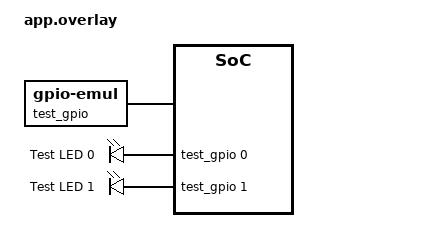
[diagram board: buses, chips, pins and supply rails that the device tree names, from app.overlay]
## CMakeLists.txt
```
# SPDX-License-Identifier: Apache-2.0

cmake_minimum_required(VERSION 3.28.0)

find_package(Zephyr REQUIRED HINTS $ENV{ZEPHYR_BASE})
project(unit)

set(APP_SRC ${CMAKE_CURRENT_SOURCE_DIR}/../../src)

target_sources(app PRIVATE
  src/test_led_ctrl.c
  ${APP_SRC}/led_ctrl.c
)
target_include_directories(app PRIVATE ${APP_SRC})
```

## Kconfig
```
# SPDX-License-Identifier: Apache-2.0

# Reusa as opções do app (APP_LED_*), que já incluem Kconfig.zephyr.
rsource "../../Kconfig"
```

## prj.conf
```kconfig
CONFIG_ZTEST=y
CONFIG_GPIO=y
CONFIG_LOG=y

# Tick de 1 ms para amostrar os pinos com resolução fina.
CONFIG_SYS_CLOCK_TICKS_PER_SEC=1000

# Períodos curtos para os testes rodarem rápido.
CONFIG_APP_LED_PERIOD_SLOW_MS=400
CONFIG_APP_LED_PERIOD_NORMAL_MS=200
CONFIG_APP_LED_PERIOD_FAST_MS=100
```

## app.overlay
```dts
/*
 * Controlador GPIO emulado só dos testes. Com zephyr,deferred-init ele
 * não é inicializado no boot: o primeiro teste vê led_ctrl_init()
 * falhar e depois o inicializa com device_init().
 */
/ {
	aliases {
		led0 = &test_led0;
		led1 = &test_led1;
	};

	test_gpio: gpio_emul_leds {
		compatible = "zephyr,gpio-emul";
		gpio-controller;
		#gpio-cells = <2>;
		ngpios = <8>;
		zephyr,deferred-init;
		status = "okay";
	};

	test_leds {
		compatible = "gpio-leds";

		test_led0: test_led_0 {
			gpios = <&test_gpio 0 GPIO_ACTIVE_HIGH>;
			label = "Test LED 0";
		};

		test_led1: test_led_1 {
			gpios = <&test_gpio 1 GPIO_ACTIVE_HIGH>;
			label = "Test LED 1";
		};
	};
};
```

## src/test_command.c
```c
/*******************************************************************
 * @file test_command.c
 *
 * @brief Testes do parser/dispatcher com um hardware fake.
 *******************************************************************/

#include <string.h>
#include <zephyr/ztest.h>

#include "command.h"

static bool fake_led;
static int fake_led_set_calls;
static int fake_button;

static int fake_led_set(bool on)
{
	fake_led = on;
	fake_led_set_calls++;
	return 0;
}

static bool fake_led_get(void)
{
	return fake_led;
}

static int fake_button_get(void)
{
	return fake_button;
}

static int64_t fake_uptime_ms(void)
{
	return 1234;
}

static const struct command_hal fake_hal = {
	.led_set = fake_led_set,
	.led_get = fake_led_get,
	.button_get = fake_button_get,
	.uptime_ms = fake_uptime_ms,
};

static char out[256];

static uint16_t run(const char *line)
{
	return dispatch(&fake_hal, line, out, sizeof(out));
}

static void reset_fakes(void *fixture)
{
	ARG_UNUSED(fixture);
	fake_led = false;
	fake_led_set_calls = 0;
	fake_button = 0;
	memset(out, 0, sizeof(out));
}

ZTEST_SUITE(command, NULL, NULL, reset_fakes, NULL, NULL);

ZTEST(command, test_parse_command)
{
	zassert_equal(parse_command("ON"), 1);
	zassert_equal(parse_command("OFF"), 0);
	zassert_equal(parse_command("on"), 1);
	zassert_equal(parse_command("oFf"), 0);
	zassert_equal(parse_command("FOO"), -1);
	zassert_equal(parse_command(""), -1);
	zassert_equal(parse_command(NULL), -1);
}

ZTEST(command, test_help_lists_one_line_per_command)
{
	const char *names[] = {"HELP", "LED", "BTN", "UPTIME", "ECHO"};
	const char *p = out;
	int lines = 0;

	zassert_equal(run("HELP"), 0);
	for (size_t i = 0; i < ARRAY_SIZE(names); i++) {
		zassert_not_null(strstr(out, names[i]), "faltou %s", names[i]);
	}
	while ((p = strstr(p, "\r\n")) != NULL) {
		lines++;
		p += 2;
	}
	zassert_equal(lines, ARRAY_SIZE(names));
	zassert_equal(strcmp(out + strlen(out) - 2, "\r\n"), 0);
}

ZTEST(command, test_led_on_off)
{
	zassert_equal(run("LED ON"), 0);
	zassert_str_equal(out, "OK\r\n");
	zassert_true(fake_led);

	zassert_equal(run("LED OFF"), 0);
	zassert_str_equal(out, "OK\r\n");
	zassert_false(fake_led);
	zassert_equal(fake_led_set_calls, 2);
}

ZTEST(command, test_case_insensitive)
{
	zassert_equal(run("led on"), 0);
	zassert_str_equal(out, "OK\r\n");
	zassert_true(fake_led);

	zassert_equal(run("Led"), 0);
	zassert_str_equal(out, "LED: ON\r\n");
}

ZTEST(command, test_led_state)
{
	zassert_equal(run("LED"), 0);
	zassert_str_equal(out, "LED: OFF\r\n");

	fake_led = true;
	zassert_equal(run("LED"), 0);
	zassert_str_equal(out, "LED: ON\r\n");
}

ZTEST(command, test_led_invalid_arg)
{
	zassert_equal(run("LED FOO"), ENOCMD);
	zassert_str_equal(out, "ERR: unknown command\r\n");
	zassert_equal(fake_led_set_calls, 0);
}

ZTEST(command, test_btn)
{
	zassert_equal(run("BTN"), 0);
	zassert_str_equal(out, "BTN: 0\r\n");

	fake_button = 1;
	zassert_equal(run("btn"), 0);
	zassert_str_equal(out, "BTN: 1\r\n");
}

ZTEST(command, test_uptime)
{
	zassert_equal(run("UPTIME"), 0);
	zassert_str_equal(out, "UPTIME: 1234 ms\r\n");
}

ZTEST(command, test_echo_preserves_text)
{
	zassert_equal(run("ECHO Hello  World!"), 0);
	zassert_str_equal(out, "Hello  World!\r\n");

	zassert_equal(run("echo MiXeD"), 0);
	zassert_str_equal(out, "MiXeD\r\n");
}

ZTEST(command, test_unknown_command)
{
	zassert_equal(run("FOO"), ENOCMD);
	zassert_str_equal(out, "ERR: unknown command\r\n");

	/* Prefixo de um comando válido não é o comando. */
	zassert_equal(run("LE"), ENOCMD);
	zassert_equal(run("LEDX"), ENOCMD);
	zassert_equal(run("UPTIME 5"), ENOCMD);
}

ZTEST(command, test_empty_line_has_no_response)
{
	zassert_equal(run(""), 0);
	zassert_str_equal(out, "");
	zassert_equal(run("   "), 0);
	zassert_str_equal(out, "");
}

ZTEST(command, test_small_output_buffer_is_truncated)
{
	char small[8];

	dispatch(&fake_hal, "ECHO 0123456789", small, sizeof(small));
	zassert_equal(strlen(small), sizeof(small) - 1);
	zassert_str_equal(small, "0123456");
}
```

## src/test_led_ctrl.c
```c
/*******************************************************************
 * @file test_led_ctrl.c
 *
 * @brief Testes do módulo led_ctrl no native_sim.
 *
 * Os LEDs ficam num gpio-emul próprio (app.overlay) e o nível dos
 * pinos é lido com gpio_emul_output_get. O tempo do native_sim é
 * simulado, então a amostragem a cada 1 ms é determinística.
 *******************************************************************/

#include "led_ctrl.h"

#include <errno.h>
#include <string.h>

#include <zephyr/device.h>
#include <zephyr/drivers/gpio.h>
#include <zephyr/drivers/gpio/gpio_emul.h>
#include <zephyr/kernel.h>
#include <zephyr/ztest.h>

static const struct gpio_dt_spec specs[] = {
	GPIO_DT_SPEC_GET(DT_ALIAS(led0), gpios),
	GPIO_DT_SPEC_GET(DT_ALIAS(led1), gpios),
};

#define NUM_LEDS ARRAY_SIZE(specs)

static const struct device *const test_gpio = DEVICE_DT_GET(DT_NODELABEL(test_gpio));

#define SAMPLE_MS    1
#define MAX_EDGES    32
#define PHASE_TOL_MS 2

struct observation {
	uint32_t edges;
	bool seen_on;
	bool seen_off;
	int last;
	int64_t edge_ms[MAX_EDGES];
};

static int level(size_t i)
{
	return gpio_emul_output_get_dt(&specs[i]);
}

/* Amostra todos os LEDs a cada SAMPLE_MS durante duration_ms. */
static void observe(struct observation obs[NUM_LEDS], uint32_t duration_ms)
{
	int64_t end;

	memset(obs, 0, NUM_LEDS * sizeof(obs[0]));
	for (size_t i = 0; i < NUM_LEDS; i++) {
		obs[i].last = level(i);
	}

	end = k_uptime_get() + duration_ms;
	while (k_uptime_get() < end) {
		k_msleep(SAMPLE_MS);
		for (size_t i = 0; i < NUM_LEDS; i++) {
			int lvl = level(i);

			obs[i].seen_on |= (lvl == 1);
			obs[i].seen_off |= (lvl == 0);
			if (lvl != obs[i].last) {
				if (obs[i].edges < MAX_EDGES) {
					obs[i].edge_ms[obs[i].edges] = k_uptime_get();
				}
				obs[i].edges++;
				obs[i].last = lvl;
			}
		}
	}
}

/* ---------------------------------------------------------------- */
/* Suite 1: controlador com zephyr,deferred-init ainda não pronto.  */
/* ---------------------------------------------------------------- */

ZTEST(led_ctrl_deferred, test_init_fails_until_controller_ready)
{
	zassert_false(device_is_ready(test_gpio), "controlador deveria estar adiado");
	zassert_equal(led_ctrl_init(), -ENODEV);

	zassert_ok(device_init(test_gpio));
	zassert_ok(led_ctrl_init());
}

/* Só roda enquanto o controlador ainda não foi inicializado. */
static bool controller_not_ready(const void *state)
{
	ARG_UNUSED(state);
	return !device_is_ready(test_gpio);
}

ZTEST_SUITE(led_ctrl_deferred, controller_not_ready, NULL, NULL, NULL, NULL);

/* ---------------------------------------------------------------- */
/* Suite 2: comportamento com o controlador pronto.                 */
/* ---------------------------------------------------------------- */

static void led_ctrl_before(void *fixture)
{
	ARG_UNUSED(fixture);
	zassert_ok(led_ctrl_init());
}

static void led_ctrl_after(void *fixture)
{
	ARG_UNUSED(fixture);
	(void)led_ctrl_off(LED_CTRL_ALL);
}

ZTEST(led_ctrl, test_init_succeeds_with_all_leds_off)
{
	zassert_ok(led_ctrl_on(LED_CTRL_ALL));
	zassert_ok(led_ctrl_init());

	zassert_equal(led_ctrl_count(), NUM_LEDS);
	for (size_t i = 0; i < NUM_LEDS; i++) {
		zassert_equal(level(i), 0, "LED %zu deveria comecar desligado", i);
	}
}

ZTEST(led_ctrl, test_init_again_stops_blinking_and_timer_still_works)
{
	struct observation obs[NUM_LEDS];

	zassert_ok(led_ctrl_blink(LED_CTRL_ALL, LED_PATTERN_FAST));
	k_msleep(CONFIG_APP_LED_PERIOD_FAST_MS);
	zassert_ok(led_ctrl_init());

	observe(obs, 2 * CONFIG_APP_LED_PERIOD_FAST_MS);
	for (size_t i = 0; i < NUM_LEDS; i++) {
		zassert_equal(obs[i].edges, 0, "LED %zu ainda pisca apos init", i);
		zassert_equal(level(i), 0);
	}

	zassert_ok(led_ctrl_blink(0, LED_PATTERN_FAST));
	observe(obs, 2 * CONFIG_APP_LED_PERIOD_FAST_MS);
	zassert_true(obs[0].edges > 0, "timer deixou de funcionar apos reinit");
}

ZTEST(led_ctrl, test_on_off_toggle_change_pin)
{
	zassert_ok(led_ctrl_on(0));
	zassert_equal(level(0), 1);
	zassert_equal(level(1), 0, "outro LED nao deveria mudar");

	zassert_ok(led_ctrl_off(0));
	zassert_equal(level(0), 0);

	zassert_ok(led_ctrl_toggle(0));
	zassert_equal(level(0), 1);
	zassert_ok(led_ctrl_toggle(0));
	zassert_equal(level(0), 0);
}

ZTEST(led_ctrl, test_blink_is_seen_on_and_off)
{
	struct observation obs[NUM_LEDS];

	zassert_ok(led_ctrl_blink(0, LED_PATTERN_NORMAL));
	observe(obs, 2 * CONFIG_APP_LED_PERIOD_NORMAL_MS);

	zassert_true(obs[0].seen_on);
	zassert_true(obs[0].seen_off);
	zassert_equal(obs[1].edges, 0, "LED parado nao deveria trocar");
}

ZTEST(led_ctrl, test_faster_led_toggles_more)
{
	struct observation obs[NUM_LEDS];

	zassert_ok(led_ctrl_blink(0, LED_PATTERN_SLOW));
	zassert_ok(led_ctrl_blink(1, LED_PATTERN_FAST));
	observe(obs, 2 * CONFIG_APP_LED_PERIOD_SLOW_MS);

	zassert_true(obs[1].edges > obs[0].edges, "rapido=%u lento=%u", obs[1].edges, obs[0].edges);
}

ZTEST(led_ctrl, test_other_led_does_not_shift_phase)
{
	const int64_t half = CONFIG_APP_LED_PERIOD_NORMAL_MS / 2;
	struct observation obs[NUM_LEDS];
	int64_t t0 = k_uptime_get();

	zassert_ok(led_ctrl_blink(0, LED_PATTERN_NORMAL));

	/* Mexe no LED 1 fora das bordas do LED 0. */
	k_msleep(half + half / 3);
	zassert_ok(led_ctrl_blink(1, LED_PATTERN_FAST));
	k_msleep(half / 2);
	zassert_ok(led_ctrl_off(1));

	observe(obs, 4 * half);
	zassert_true(obs[0].edges >= 3, "LED 0 trocou %u vezes", obs[0].edges);
	for (uint32_t k = 0; k < MIN(obs[0].edges, MAX_EDGES); k++) {
		int64_t offset = (obs[0].edge_ms[k] - t0) % half;

		zassert_true(offset <= PHASE_TOL_MS || offset >= half - PHASE_TOL_MS,
			     "borda %u fora de fase: %lld ms", k, (long long)offset);
	}
}

static void assert_cancels_blink(int (*cmd)(int led), int expected)
{
	struct observation obs[NUM_LEDS];

	zassert_ok(led_ctrl_blink(0, LED_PATTERN_FAST));
	k_msleep(CONFIG_APP_LED_PERIOD_FAST_MS / 4);
	zassert_ok(cmd(0));

	observe(obs, 3 * CONFIG_APP_LED_PERIOD_FAST_MS);
	zassert_equal(obs[0].edges, 0, "pisca nao foi cancelado");
	zassert_equal(level(0), expected);
}

ZTEST(led_ctrl, test_on_cancels_blink)
{
	assert_cancels_blink(led_ctrl_on, 1);
}

ZTEST(led_ctrl, test_off_cancels_blink)
{
	assert_cancels_blink(led_ctrl_off, 0);
}

ZTEST(led_ctrl, test_toggle_cancels_blink)
{
	/* blink acende o LED; 1/4 de período depois ainda está aceso, toggle apaga. */
	assert_cancels_blink(led_ctrl_toggle, 0);
}

ZTEST(led_ctrl, test_all_affects_every_led)
{
	struct observation obs[NUM_LEDS];

	zassert_ok(led_ctrl_on(LED_CTRL_ALL));
	for (size_t i = 0; i < NUM_LEDS; i++) {
		zassert_equal(level(i), 1, "LED %zu", i);
	}

	zassert_ok(led_ctrl_toggle(LED_CTRL_ALL));
	for (size_t i = 0; i < NUM_LEDS; i++) {
		zassert_equal(level(i), 0, "LED %zu", i);
	}

	zassert_ok(led_ctrl_blink(LED_CTRL_ALL, LED_PATTERN_FAST));
	observe(obs, 2 * CONFIG_APP_LED_PERIOD_FAST_MS);
	for (size_t i = 0; i < NUM_LEDS; i++) {
		zassert_true(obs[i].seen_on && obs[i].seen_off, "LED %zu nao piscou", i);
	}

	zassert_ok(led_ctrl_off(LED_CTRL_ALL));
	observe(obs, 2 * CONFIG_APP_LED_PERIOD_FAST_MS);
	for (size_t i = 0; i < NUM_LEDS; i++) {
		zassert_equal(obs[i].edges, 0, "LED %zu", i);
		zassert_equal(level(i), 0, "LED %zu", i);
	}
}

ZTEST(led_ctrl, test_invalid_arguments)
{
	const int past_end = (int)NUM_LEDS;

	zassert_equal(led_ctrl_on(past_end), -EINVAL);
	zassert_equal(led_ctrl_off(past_end), -EINVAL);
	zassert_equal(led_ctrl_toggle(past_end), -EINVAL);
	zassert_equal(led_ctrl_blink(past_end, LED_PATTERN_SLOW), -EINVAL);
	zassert_equal(led_ctrl_on(-2), -EINVAL);

	zassert_equal(led_ctrl_blink(0, LED_PATTERN_COUNT), -EINVAL);
	zassert_equal(led_ctrl_blink(0, (enum led_pattern) - 1), -EINVAL);
	zassert_equal(led_ctrl_blink(LED_CTRL_ALL, LED_PATTERN_COUNT), -EINVAL);

	for (size_t i = 0; i < NUM_LEDS; i++) {
		zassert_equal(level(i), 0, "argumento invalido mexeu no LED %zu", i);
	}
}

static bool controller_ready(const void *state)
{
	ARG_UNUSED(state);
	return device_is_ready(test_gpio);
}

ZTEST_SUITE(led_ctrl, controller_ready, NULL, led_ctrl_before, led_ctrl_after, NULL);

/*
 * O teste de deferred-init precisa rodar antes de qualquer device_init().
 * 1a passada: só led_ctrl_deferred (controlador adiado), que o inicializa;
 * 2a passada: só led_ctrl (controlador pronto).
 */
void test_main(void)
{
	ztest_run_all(NULL, false, 1, 1);
	ztest_run_all(NULL, false, 1, 1);
	ztest_verify_all_test_suites_ran();
}
```

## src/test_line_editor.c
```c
/*******************************************************************
 * @file test_line_editor.c
 *
 * @brief Testes da montagem de linhas (backspace, terminadores,
 *        descarte de linha longa).
 *******************************************************************/

#include <string.h>
#include <zephyr/ztest.h>

#include "line_editor.h"

#define LINE_SIZE 64

static char buf[LINE_SIZE];
static struct line_editor le;

/* Alimenta todos os bytes de s e devolve o evento do último. */
static enum line_event feed(const char *s, size_t n)
{
	enum line_event ev = LINE_IGNORED;

	for (size_t i = 0; i < n; i++) {
		ev = line_editor_feed(&le, s[i]);
	}
	return ev;
}

#define FEED(s) feed((s), sizeof(s) - 1)

static void reset_editor(void *fixture)
{
	ARG_UNUSED(fixture);
	line_editor_init(&le, buf, sizeof(buf));
}

ZTEST_SUITE(line_editor, NULL, NULL, reset_editor, NULL, NULL);

ZTEST(line_editor, test_char_events)
{
	zassert_equal(line_editor_feed(&le, 'a'), LINE_CHAR);
	zassert_equal(line_editor_feed(&le, '\x01'), LINE_IGNORED);
}

ZTEST(line_editor, test_terminators)
{
	zassert_equal(FEED("HELP\r"), LINE_DONE);
	zassert_str_equal(buf, "HELP");

	zassert_equal(FEED("BTN\n"), LINE_DONE);
	zassert_str_equal(buf, "BTN");
}

ZTEST(line_editor, test_crlf_is_single_terminator)
{
	zassert_equal(FEED("LED\r"), LINE_DONE);
	zassert_equal(line_editor_feed(&le, '\n'), LINE_IGNORED);
	zassert_equal(FEED("BTN\r"), LINE_DONE);
	zassert_str_equal(buf, "BTN");
}

ZTEST(line_editor, test_empty_line)
{
	zassert_equal(line_editor_feed(&le, '\r'), LINE_DONE);
	zassert_str_equal(buf, "");
}

ZTEST(line_editor, test_backspace_and_delete)
{
	zassert_equal(FEED("LEX"), LINE_CHAR);
	zassert_equal(line_editor_feed(&le, 0x08), LINE_ERASED);
	zassert_equal(FEED("D OM"), LINE_CHAR);
	zassert_equal(line_editor_feed(&le, 0x7F), LINE_ERASED);
	zassert_equal(FEED("N\r"), LINE_DONE);
	zassert_str_equal(buf, "LED ON");
}

ZTEST(line_editor, test_backspace_on_empty_line)
{
	zassert_equal(line_editor_feed(&le, 0x08), LINE_IGNORED);
	zassert_equal(line_editor_feed(&le, 0x7F), LINE_IGNORED);
	zassert_equal(FEED("A\r"), LINE_DONE);
	zassert_str_equal(buf, "A");
}

ZTEST(line_editor, test_max_length_line_fits)
{
	char line[LINE_SIZE];

	memset(line, 'A', LINE_SIZE - 1);
	line[LINE_SIZE - 1] = '\r';
	zassert_equal(feed(line, LINE_SIZE), LINE_DONE);
	zassert_equal(strlen(buf), LINE_SIZE - 1);
}

ZTEST(line_editor, test_too_long_line_is_discarded)
{
	char line[LINE_SIZE + 1];

	memset(line, 'A', LINE_SIZE);
	line[LINE_SIZE] = '\r';
	zassert_equal(feed(line, LINE_SIZE), LINE_CHAR);
	/* Backspace não "salva" uma linha já descartada. */
	zassert_equal(line_editor_feed(&le, 0x08), LINE_IGNORED);
	zassert_equal(line_editor_feed(&le, '\r'), LINE_TOO_LONG);

	/* A linha seguinte volta a funcionar normalmente. */
	zassert_equal(FEED("LED\r"), LINE_DONE);
	zassert_str_equal(buf, "LED");
}
```
